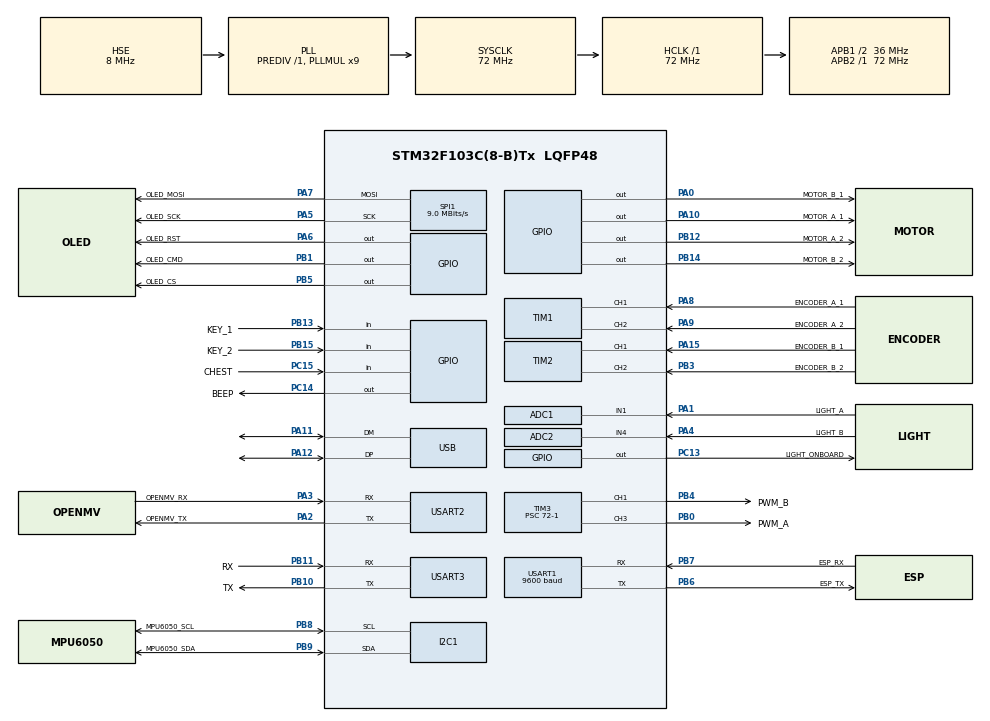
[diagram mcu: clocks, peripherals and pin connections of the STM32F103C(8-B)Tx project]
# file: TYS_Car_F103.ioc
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ADC1.Channel-4\#ChannelRegularConversion=ADC_CHANNEL_1
ADC1.NbrOfConversionFlag=1
ADC1.Rank-4\#ChannelRegularConversion=1
ADC1.SamplingTime-4\#ChannelRegularConversion=ADC_SAMPLETIME_1CYCLE_5
ADC1.master=1
ADC2.Channel-3\#ChannelRegularConversion=ADC_CHANNEL_4
ADC2.NbrOfConversionFlag=1
ADC2.Rank-3\#ChannelRegularConversion=1
ADC2.SamplingTime-3\#ChannelRegularConversion=ADC_SAMPLETIME_1CYCLE_5
FREERTOS.HEAP_NUMBER=4
FREERTOS.MEMORY_ALLOCATION=2
FREERTOS.Tasks01=defaultTask,0,128,StartDefaultTask,Default,NULL,Static,defaultTaskBuffer,defaultTaskControlBlock;Screen_Refreshe,0,128,Screen_Refresh,Default,NULL,Static,Screen_RefresheBuffer,Screen_RefresheControlBlock;ADC_Read,0,128,ADC_Get,Default,NULL,Static,ADC_ReadBuffer,ADC_ReadControlBlock;Speed_Control,2,128,Control_Speed,Default,NULL,Static,Speed_ControlBuffer,Speed_ControlControlBlock
FREERTOS.configTOTAL_HEAP_SIZE=3072
I2C1.I2C_Mode=I2C_Fast
Mcu.Family=STM32F1
Mcu.Name=STM32F103C(8-B)Tx
Mcu.Package=LQFP48
NVIC.PriorityGroup=NVIC_PRIORITYGROUP_4
NVIC.TIM4_IRQn=true\:15\:0\:false\:false\:true\:false\:false\:true
NVIC.TimeBase=TIM4_IRQn
NVIC.TimeBaseIP=TIM4
NVIC.USART1_IRQn=true\:5\:0\:true\:false\:true\:true\:true\:true
NVIC.USART2_IRQn=true\:5\:0\:true\:false\:true\:true\:true\:true
NVIC.USART3_IRQn=true\:5\:0\:true\:false\:true\:true\:true\:true
NVIC.USB_LP_CAN1_RX0_IRQn=true\:5\:0\:false\:false\:true\:true\:false\:true
PA0-WKUP.GPIO_Label=MOTOR_B_1
PA0-WKUP.Signal=GPIO_Output
PA1.GPIO_Label=LIGHT_A
PA1.Signal=ADCx_IN1
PA10.GPIO_Label=MOTOR_A_1
PA10.Signal=GPIO_Output
PA11.Mode=Device
PA11.Signal=USB_DM
PA12.Mode=Device
PA12.Signal=USB_DP
PA13.GPIO_Label=SWDIO
PA13.Mode=Serial_Wire
PA13.Signal=SYS_JTMS-SWDIO
PA14.GPIO_Label=SWCLK
PA14.Mode=Serial_Wire
PA14.Signal=SYS_JTCK-SWCLK
PA15.GPIO_Label=ENCODER_B_1
PA15.Signal=S_TIM2_CH1_ETR
PA2.GPIO_Label=OPENMV_TX
PA2.Mode=Asynchronous
PA2.Signal=USART2_TX
PA3.GPIO_Label=OPENMV_RX
PA3.Mode=Asynchronous
PA3.Signal=USART2_RX
PA4.GPIO_Label=LIGHT_B
PA4.Signal=ADCx_IN4
PA5.GPIO_Label=OLED_SCK
PA5.Mode=TX_Only_Simplex_Unidirect_Master
PA5.Signal=SPI1_SCK
PA6.GPIO_Label=OLED_RST
PA6.Signal=GPIO_Output
PA7.GPIO_Label=OLED_MOSI
PA7.Mode=TX_Only_Simplex_Unidirect_Master
PA7.Signal=SPI1_MOSI
PA8.GPIO_Label=ENCODER_A_1
PA8.Signal=S_TIM1_CH1
PA9.GPIO_Label=ENCODER_A_2
PA9.Signal=S_TIM1_CH2
PB0.GPIO_Label=PWM_A
PB0.Signal=S_TIM3_CH3
PB1.GPIO_Label=OLED_CMD
PB1.Signal=GPIO_Output
PB10.GPIO_Label=TX
PB10.Mode=Asynchronous
PB10.Signal=USART3_TX
PB11.GPIO_Label=RX
PB11.Mode=Asynchronous
PB11.Signal=USART3_RX
PB12.GPIO_Label=MOTOR_A_2
PB12.Signal=GPIO_Output
PB13.GPIO_Label=KEY_1
PB13.Signal=GPIO_Input
PB14.GPIO_Label=MOTOR_B_2
PB14.Signal=GPIO_Output
PB15.GPIO_Label=KEY_2
PB15.Signal=GPIO_Input
PB3.GPIO_Label=ENCODER_B_2
PB3.Signal=S_TIM2_CH2
PB4.GPIO_Label=PWM_B
PB4.Signal=S_TIM3_CH1
PB5.GPIO_Label=OLED_CS
PB5.Signal=GPIO_Output
PB6.GPIO_Label=ESP_TX
PB6.Mode=Asynchronous
PB6.Signal=USART1_TX
PB7.GPIO_Label=ESP_RX
PB7.Mode=Asynchronous
PB7.Signal=USART1_RX
PB8.GPIO_Label=MPU6050_SCL
PB8.Mode=I2C
PB8.Signal=I2C1_SCL
PB9.GPIO_Label=MPU6050_SDA
PB9.Mode=I2C
PB9.Signal=I2C1_SDA
PC13-TAMPER-RTC.GPIO_Label=LIGHT_ONBOARD
PC13-TAMPER-RTC.Signal=GPIO_Output
PC14-OSC32_IN.GPIO_Label=BEEP
PC14-OSC32_IN.PinState=GPIO_PIN_SET
PC14-OSC32_IN.Signal=GPIO_Output
PC15-OSC32_OUT.GPIO_Label=CHEST
PC15-OSC32_OUT.Signal=GPIO_Input
PD0-OSC_IN.GPIO_Label=RCC_IN
PD0-OSC_IN.Mode=HSE-External-Oscillator
PD0-OSC_IN.Signal=RCC_OSC_IN
PD1-OSC_OUT.GPIO_Label=RCC_OUT
PD1-OSC_OUT.Mode=HSE-External-Oscillator
PD1-OSC_OUT.Signal=RCC_OSC_OUT
ProjectManager.HeapSize=0x200
ProjectManager.StackSize=0x400
ProjectManager.TargetToolchain=SW4STM32
RCC.ADCPresc=RCC_ADCPCLK2_DIV6
RCC.AHBFreq_Value=72000000
RCC.APB1CLKDivider=RCC_HCLK_DIV2
RCC.APB1Freq_Value=36000000
RCC.APB1TimFreq_Value=72000000
RCC.APB2Freq_Value=72000000
RCC.APB2TimFreq_Value=72000000
RCC.HCLKFreq_Value=72000000
RCC.PLLMUL=RCC_PLL_MUL9
RCC.PLLSourceVirtual=RCC_PLLSOURCE_HSE
RCC.SYSCLKFreq_VALUE=72000000
RCC.SYSCLKSource=RCC_SYSCLKSOURCE_PLLCLK
RCC.USBFreq_Value=48000000
RCC.USBPrescaler=RCC_USBCLKSOURCE_PLL_DIV1_5
SH.ADCx_IN1.0=ADC1_IN1,IN1
SH.ADCx_IN4.0=ADC2_IN4,IN4
SH.S_TIM1_CH1.0=TIM1_CH1,Encoder_Interface
SH.S_TIM1_CH2.0=TIM1_CH2,Encoder_Interface
SH.S_TIM2_CH1_ETR.0=TIM2_CH1,Encoder_Interface
SH.S_TIM2_CH2.0=TIM2_CH2,Encoder_Interface
SH.S_TIM3_CH1.0=TIM3_CH1,PWM Generation1 CH1
SH.S_TIM3_CH3.0=TIM3_CH3,PWM Generation3 CH3
SPI1.BaudRatePrescaler=SPI_BAUDRATEPRESCALER_8
SPI1.CalculateBaudRate=9.0 MBits/s
SPI1.Direction=SPI_DIRECTION_2LINES
SPI1.Mode=SPI_MODE_MASTER
SPI1.VirtualType=VM_MASTER
TIM1.EncoderMode=TIM_ENCODERMODE_TI12
TIM1.IC1Filter=10
TIM1.IC2Filter=10
TIM2.EncoderMode=TIM_ENCODERMODE_TI12
TIM2.IC1Filter=10
TIM2.IC2Filter=10
TIM3.Channel-PWM\ Generation1\ CH1=TIM_CHANNEL_1
TIM3.Channel-PWM\ Generation3\ CH3=TIM_CHANNEL_3
TIM3.Period=1000-1
TIM3.Prescaler=72-1
USART1.BaudRate=9600
USART1.VirtualMode=VM_ASYNC
USART2.VirtualMode=VM_ASYNC
USART3.VirtualMode=VM_ASYNC
USB_DEVICE.APP_RX_DATA_SIZE=100
USB_DEVICE.APP_TX_DATA_SIZE=100
USB_DEVICE.CLASS_NAME_FS=CDC
USB_DEVICE.VirtualMode=Cdc
USB_DEVICE.VirtualModeFS=Cdc_FS
VP_FREERTOS_VS_CMSIS_V1.Mode=CMSIS_V1
VP_SYS_VS_tim4.Mode=TIM4
VP_TIM3_VS_ClockSourceINT.Mode=Internal
VP_USB_DEVICE_VS_USB_DEVICE_CDC_FS.Mode=CDC_FS
board=custom

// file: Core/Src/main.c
/* USER CODE BEGIN Header */
/**
  ******************************************************************************
  * @file           : main.c
  * @brief          : Main program body
  ******************************************************************************
  * @attention
  *
  * <h2><center>&copy; Copyright (c) 2021 STMicroelectronics.
  * All rights reserved.</center></h2>
  *
  * This software component is licensed by ST under Ultimate Liberty license
  * SLA0044, the "License"; You may not use this file except in compliance with
  * the License. You may obtain a copy of the License at:
  *                             www.st.com/SLA0044
  *
  ******************************************************************************
  */
/* USER CODE END Header */
#include "main.h"
#include "cmsis_os.h"
#include "adc.h"
#include "i2c.h"
#include "spi.h"
#include "tim.h"
#include "usart.h"
#include "usb_device.h"
#include "gpio.h"

/* USER CODE BEGIN Includes */
//#include "TYS_MPU6050.h"
//#include "stdio.h"
//#include "TYS_Retarget.h"
/* USER CODE END Includes */

void SystemClock_Config(void);
void MX_FREERTOS_Init(void);

int main(void)
{

  /* MCU Configuration--------------------------------------------------------*/

  /* Reset of all peripherals, Initializes the Flash interface and the Systick. */
  HAL_Init();

  /* Configure the system clock */
  SystemClock_Config();

  /* Initialize all configured peripherals */
  MX_GPIO_Init();
  MX_ADC1_Init();
  MX_I2C1_Init();
  MX_SPI1_Init();
  MX_TIM1_Init();
  MX_TIM2_Init();
  MX_TIM3_Init();
  MX_USART1_UART_Init();
  MX_ADC2_Init();
  MX_USART2_UART_Init();
  MX_USART3_UART_Init();
  /* USER CODE BEGIN 2 */
//    RetargetInit();

  /* USER CODE END 2 */

  /* Call init function for freertos objects (in freertos.c) */
  MX_FREERTOS_Init();
  /* Start scheduler */
  osKernelStart();

  /* We should never get here as control is now taken by the scheduler */
  /* Infinite loop */
    while (1) {

    }
}

void SystemClock_Config(void)
{
  RCC_OscInitTypeDef RCC_OscInitStruct = {0};
  RCC_ClkInitTypeDef RCC_ClkInitStruct = {0};
  RCC_PeriphCLKInitTypeDef PeriphClkInit = {0};

  /** Initializes the RCC Oscillators according to the specified parameters
  * in the RCC_OscInitTypeDef structure.
  */
  RCC_OscInitStruct.OscillatorType = RCC_OSCILLATORTYPE_HSE;
  RCC_OscInitStruct.HSEState = RCC_HSE_ON;
  RCC_OscInitStruct.HSEPredivValue = RCC_HSE_PREDIV_DIV1;
  RCC_OscInitStruct.HSIState = RCC_HSI_ON;
  RCC_OscInitStruct.PLL.PLLState = RCC_PLL_ON;
  RCC_OscInitStruct.PLL.PLLSource = RCC_PLLSOURCE_HSE;
  RCC_OscInitStruct.PLL.PLLMUL = RCC_PLL_MUL9;
  if (HAL_RCC_OscConfig(&RCC_OscInitStruct) != HAL_OK)
  {
    Error_Handler();
  }
  /** Initializes the CPU, AHB and APB buses clocks
  */
  RCC_ClkInitStruct.ClockType = RCC_CLOCKTYPE_HCLK|RCC_CLOCKTYPE_SYSCLK
                              |RCC_CLOCKTYPE_PCLK1|RCC_CLOCKTYPE_PCLK2;
  RCC_ClkInitStruct.SYSCLKSource = RCC_SYSCLKSOURCE_PLLCLK;
  RCC_ClkInitStruct.AHBCLKDivider = RCC_SYSCLK_DIV1;
  RCC_ClkInitStruct.APB1CLKDivider = RCC_HCLK_DIV2;
  RCC_ClkInitStruct.APB2CLKDivider = RCC_HCLK_DIV1;

  if (HAL_RCC_ClockConfig(&RCC_ClkInitStruct, FLASH_LATENCY_2) != HAL_OK)
  {
    Error_Handler();
  }
  PeriphClkInit.PeriphClockSelection = RCC_PERIPHCLK_ADC|RCC_PERIPHCLK_USB;
  PeriphClkInit.AdcClockSelection = RCC_ADCPCLK2_DIV6;
  PeriphClkInit.UsbClockSelection = RCC_USBCLKSOURCE_PLL_DIV1_5;
  if (HAL_RCCEx_PeriphCLKConfig(&PeriphClkInit) != HAL_OK)
  {
    Error_Handler();
  }
}

void HAL_TIM_PeriodElapsedCallback(TIM_HandleTypeDef *htim)
{
  if (htim->Instance == TIM4) {
    HAL_IncTick();
  }
}

void Error_Handler(void)
{
    __disable_irq();
    while (1) {
    }
}

/************************ (C) COPYRIGHT STMicroelectronics *****END OF FILE****/

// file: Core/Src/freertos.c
/* USER CODE BEGIN Header */
/**
  ******************************************************************************
  * File Name          : freertos.c
  * Description        : Code for freertos applications
  ******************************************************************************
  * @attention
  *
  * <h2><center>&copy; Copyright (c) 2021 STMicroelectronics.
  * All rights reserved.</center></h2>
  *
  * This software component is licensed by ST under Ultimate Liberty license
  * SLA0044, the "License"; You may not use this file except in compliance with
  * the License. You may obtain a copy of the License at:
  *                             www.st.com/SLA0044
  *
  ******************************************************************************
  */
/* USER CODE END Header */

#include "FreeRTOS.h"
#include "task.h"
#include "main.h"
#include "cmsis_os.h"

/* USER CODE BEGIN Includes */
#include "adc.h"
#include "i2c.h"
#include "spi.h"
#include "usart.h"
#include "tim.h"
#include "TYS_OLED.h"
#include "usbd_cdc_if.h"
#include "../MPU6050/TYS_MPU6050.h"
/* USER CODE END Includes */

/* USER CODE BEGIN Variables */
unsigned char UART1_Rx_Buf[8] = {0x00}; //USART1存储接收数据
unsigned char UART1_Rx_flg = 0;         //USART1接收完成标志
unsigned int  UART1_Rx_cnt = 0;         //USART1接受数据计数�?
unsigned char UART1_temp[1] = {0x00};   //USART1接收数据缓存

unsigned char UART2_Rx_Buf[8] = {0x00}; //USART2存储接收数据
unsigned char UART2_Rx_flg = 0;         //USART2接收完成标志
unsigned int  UART2_Rx_cnt = 0;         //USART2接受数据计数�?
unsigned char UART2_temp[1] = {0x00};   //USART2接收数据缓存

unsigned char UART3_Rx_Buf[8] = {0x00}; //USART3存储接收数据
unsigned char UART3_Rx_flg = 0;         //USART3接收完成标志
unsigned int  UART3_Rx_cnt = 0;         //USART3接受数据计数�?
unsigned char UART3_temp[1] = {0x00};   //USART3接收数据缓存

int32_t Light_A, Light_B;
int32_t Speed_A, Speed_B;
int32_t ERR_A_Last_0, ERR_B_Last_0;
int32_t ERR_A_Last_1, ERR_B_Last_1;
int32_t ERR_A_Last_2, ERR_B_Last_2;
int32_t Speed_Target_A, Speed_Target_B;
int32_t PWM_A, PWM_B;
int32_t PWM_A_Bias, PWM_B_Bias;
int32_t PID_P = 400, PID_I = 800, PID_D = 100;

int32_t Length_A, Length_B;
uint8_t FLAG_MOVE;

uint8_t Key_1, Key_2;

uint8_t OpenMV_Num, OpenMV_Dir;

float X, Y, Z;

//uint8_t UART1_Rx_Buf[8]; //USART1存储接收数据
//uint8_t UART2_Rx_Buf[8] = "XXXXXXXX"; //USART2存储接收数据
//uint8_t UART3_Rx_Buf[8]; //USART3存储接收数据

enum DIRECTION {
    DIR_STOP = 0,
    DIR_FORWARD = 1,
    DIR_BACKWARD = 2,
    DIR_LEFT = 3,
    DIR_RIGHT = 4
};
enum DIRECTION Direction = DIR_STOP;
/* USER CODE END Variables */
osThreadId defaultTaskHandle;
uint32_t defaultTaskBuffer[ 128 ];
osStaticThreadDef_t defaultTaskControlBlock;
osThreadId Screen_RefresheHandle;
uint32_t Screen_RefresheBuffer[ 128 ];
osStaticThreadDef_t Screen_RefresheControlBlock;
osThreadId ADC_ReadHandle;
uint32_t ADC_ReadBuffer[ 128 ];
osStaticThreadDef_t ADC_ReadControlBlock;
osThreadId Speed_ControlHandle;
uint32_t Speed_ControlBuffer[ 128 ];
osStaticThreadDef_t Speed_ControlControlBlock;

/* USER CODE BEGIN FunctionPrototypes */
void CAR_RUN(int32_t Length_R, int32_t Length_L, int32_t Target_R, int32_t Target_L, enum DIRECTION Dir) {
    Length_A = Length_R;
    Length_B = Length_L;
    Speed_Target_A = Target_R;
    Speed_Target_B = Target_L;
    Direction = Dir;
    HAL_GPIO_WritePin(LIGHT_ONBOARD_GPIO_Port, LIGHT_ONBOARD_Pin, GPIO_PIN_RESET);
    FLAG_MOVE = 1;
}
void HAL_UART_RxCpltCallback(UART_HandleTypeDef *huart)
{
    if(huart->Instance==USART1)
    {
        UART1_Rx_Buf[UART1_Rx_cnt] = UART1_temp[0];
        CDC_Transmit_FS(UART1_temp, 1);
        UART1_Rx_cnt++;
        if(0x7f == UART1_temp[0])
        {
            UART1_Rx_flg = 1;
        }
        HAL_UART_Receive_IT(&huart1,(uint8_t *)UART1_temp,1);
    }
    if(huart->Instance==USART2)
    {
        UART2_Rx_Buf[UART2_Rx_cnt] = UART2_temp[0];
        CDC_Transmit_FS(UART2_temp, 1);
        UART2_Rx_cnt++;
        if(0x7f == UART2_temp[0])
        {
            UART2_Rx_flg = 1;
        }
        HAL_UART_Receive_IT(&huart2,(uint8_t *)UART2_temp,1);
    }
    if(huart->Instance==USART3)
    {
        UART3_Rx_Buf[UART3_Rx_cnt] = UART3_temp[0];
        CDC_Transmit_FS(UART3_temp, 1);
        UART3_Rx_cnt++;
        if(0x7f == UART3_temp[0])
        {
            UART3_Rx_flg = 1;
        }
        HAL_UART_Receive_IT(&huart3,(uint8_t *)UART3_temp,1);
    }
}
/* USER CODE END FunctionPrototypes */

void StartDefaultTask(void const * argument);
void Screen_Refresh(void const * argument);
void ADC_Get(void const * argument);
void Control_Speed(void const * argument);

extern void MX_USB_DEVICE_Init(void);
void MX_FREERTOS_Init(void); /* (MISRA C 2004 rule 8.1) */

/* GetIdleTaskMemory prototype (linked to static allocation support) */
void vApplicationGetIdleTaskMemory( StaticTask_t **ppxIdleTaskTCBBuffer, StackType_t **ppxIdleTaskStackBuffer, uint32_t *pulIdleTaskStackSize );

/* USER CODE BEGIN GET_IDLE_TASK_MEMORY */
static StaticTask_t xIdleTaskTCBBuffer;
static StackType_t xIdleStack[configMINIMAL_STACK_SIZE];

void vApplicationGetIdleTaskMemory( StaticTask_t **ppxIdleTaskTCBBuffer, StackType_t **ppxIdleTaskStackBuffer, uint32_t *pulIdleTaskStackSize )
{
  *ppxIdleTaskTCBBuffer = &xIdleTaskTCBBuffer;
  *ppxIdleTaskStackBuffer = &xIdleStack[0];
  *pulIdleTaskStackSize = configMINIMAL_STACK_SIZE;
  /* place for user code */
}
/* USER CODE END GET_IDLE_TASK_MEMORY */

void MX_FREERTOS_Init(void) {

  /* Create the thread(s) */
  /* definition and creation of defaultTask */
  osThreadStaticDef(defaultTask, StartDefaultTask, osPriorityNormal, 0, 128, defaultTaskBuffer, &defaultTaskControlBlock);
  defaultTaskHandle = osThreadCreate(osThread(defaultTask), NULL);

  /* definition and creation of Screen_Refreshe */
  osThreadStaticDef(Screen_Refreshe, Screen_Refresh, osPriorityNormal, 0, 128, Screen_RefresheBuffer, &Screen_RefresheControlBlock);
  Screen_RefresheHandle = osThreadCreate(osThread(Screen_Refreshe), NULL);

  /* definition and creation of ADC_Read */
  osThreadStaticDef(ADC_Read, ADC_Get, osPriorityNormal, 0, 128, ADC_ReadBuffer, &ADC_ReadControlBlock);
  ADC_ReadHandle = osThreadCreate(osThread(ADC_Read), NULL);

  /* definition and creation of Speed_Control */
  osThreadStaticDef(Speed_Control, Control_Speed, osPriorityHigh, 0, 128, Speed_ControlBuffer, &Speed_ControlControlBlock);
  Speed_ControlHandle = osThreadCreate(osThread(Speed_Control), NULL);

}

void StartDefaultTask(void const * argument)
{
  /* init code for USB_DEVICE */
  MX_USB_DEVICE_Init();
  /* USER CODE BEGIN StartDefaultTask */
    HAL_UART_Receive_IT(&huart1,(uint8_t *)UART1_temp,1);
    HAL_UART_Receive_IT(&huart2,(uint8_t *)UART2_temp,1);
    HAL_UART_Receive_IT(&huart3,(uint8_t *)UART3_temp,1);
//    osDelay(1000);
//    CAR_RUN(7500, 7500, 50, 50, DIR_FORWARD);
//    while (FLAG_MOVE);
//    osDelay(500);
//    CAR_RUN(7500, 7500, 50, 50, DIR_BACKWARD);
//    while (FLAG_MOVE);
//    osDelay(500);
//    CAR_RUN(7500, 7500, 50, 50, DIR_RIGHT);
//    while (FLAG_MOVE);
//    osDelay(500);
//    CAR_RUN(7500, 7500, 50, 50, DIR_LEFT);
//    while (FLAG_MOVE);
//    CAR_RUN(2000, 2000, 50, 50, DIR_FORWARD);
  /* Infinite loop */
    for (;;) {
        osDelay(100);
    }
  /* USER CODE END StartDefaultTask */
}

void Screen_Refresh(void const * argument)
{
  /* USER CODE BEGIN Screen_Refresh */
    OLED_Init();
    OLED_Clear();
    OLED_Display_On();
  /* Infinite loop */
    for (;;) {
        if (Key_1 == 1) {
            if (Key_2 == 1) {
                OLED_ShowString(0, 0, "     LIGHT     ");
                OLED_ShowString(0, 2, "LightA: ");
                OLED_ShowString(0, 4, "LightB: ");
                OLED_ShowString(0, 6, "               ");
                OLED_ShowNum(65, 2, Light_A, 4, 16);
                OLED_ShowNum(65, 4, Light_B, 4, 16);
            }
            if (Key_2 == 0) {
                OLED_ShowString(0, 0, "     SPEED     ");
                OLED_ShowString(0, 2, "SpeedA: ");
                OLED_ShowString(0, 4, "SpeedB: ");
                OLED_ShowString(0, 6, "               ");
                OLED_ShowNum(65, 2, Speed_A, 4, 16);
                OLED_ShowNum(65, 4, Speed_B, 4, 16);
            }
        }
        if (Key_1 == 0) {
            if (Key_2 == 1) {
                OLED_ShowString(0, 0, "    OPEN_MV    ");
                OLED_ShowString(0, 2, "NUMBER: ");
                OLED_ShowString(0, 4, "DIRECT: ");
                OLED_ShowString(0, 6, "               ");
                OLED_ShowNum(65, 2, OpenMV_Num, 4, 16);
                OLED_ShowNum(65, 4, OpenMV_Dir, 4, 16);
            }
            if (Key_2 == 0) {
                OLED_ShowString(0, 0, "    MPU6050    ");
                if (X >= 0) OLED_ShowString(0, 2, "ANG_X : ");
                else OLED_ShowString(0, 2, "ANG_X :-");
                if (Y >= 0) OLED_ShowString(0, 4, "ANG_Y : ");
                else OLED_ShowString(0, 4, "ANG_Y :-");
                if (Z >= 0) OLED_ShowString(0, 6, "ANG_Z : ");
                else OLED_ShowString(0, 6, "ANG_Z :");
                OLED_ShowNum(65, 2, abs(X*10), 4, 16);
                OLED_ShowNum(65, 4, abs(Y*10) * 10, 4, 16);
                OLED_ShowNum(65, 6, abs(Z*10), 4, 16);
            }
        }
        osDelay(40);
    }
  /* USER CODE END Screen_Refresh */
}

void ADC_Get(void const * argument)
{
  /* USER CODE BEGIN ADC_Get */
    uint8_t USB_Send[] = "SpeedA=   ,SpeedB=   \n";
    uint8_t NUM_Table[] = "0123456789";
    uint8_t UART1_Send[8] = {0x00, 0x00, 0x00, 0x00, 0x00, 0x00, 0x00, 0x00};
    //MPU_6050_Init();
    //while (mpu_dmp_init());
  /* Infinite loop */
    for (;;) {

        if(UART1_Rx_flg)
        {
            switch (UART1_Rx_Buf[0]) {
                case 0:
                    Direction = DIR_STOP;
                    Speed_Target_A = UART1_Rx_Buf[1] * 128 + UART1_Rx_Buf[2];
                    Speed_Target_B = UART1_Rx_Buf[3] * 128 + UART1_Rx_Buf[4];
                    break;
                case 1:
                    Direction = DIR_FORWARD;
                    Speed_Target_A = UART1_Rx_Buf[1] * 128 + UART1_Rx_Buf[2];
                    Speed_Target_B = UART1_Rx_Buf[3] * 128 + UART1_Rx_Buf[4];
                    break;
                case 2:
                    Direction = DIR_LEFT;
                    Speed_Target_A = UART1_Rx_Buf[1] * 128 + UART1_Rx_Buf[2];
                    Speed_Target_B = UART1_Rx_Buf[3] * 128 + UART1_Rx_Buf[4];
                    break;
                case 3:
                    Direction = DIR_RIGHT;
                    Speed_Target_A = UART1_Rx_Buf[1] * 128 + UART1_Rx_Buf[2];
                    Speed_Target_B = UART1_Rx_Buf[3] * 128 + UART1_Rx_Buf[4];
                    break;
                case 4:
                    Direction = DIR_BACKWARD;
                    Speed_Target_A = UART1_Rx_Buf[1] * 128 + UART1_Rx_Buf[2];
                    Speed_Target_B = UART1_Rx_Buf[3] * 128 + UART1_Rx_Buf[4];
                    break;
                case 5:
                    PID_P = UART1_Rx_Buf[1] * 128 + UART1_Rx_Buf[2];
                    PID_I = UART1_Rx_Buf[3] * 128 + UART1_Rx_Buf[4];
                    PID_D = UART1_Rx_Buf[5] * 128 + UART1_Rx_Buf[6];
                default:
                    Direction = DIR_STOP;

            }
            for(int i = 0;i<UART1_Rx_cnt;i++) {
                UART1_Rx_Buf[i] = 0;
            }
            UART1_Rx_cnt = 0;
            UART1_Rx_flg = 0;
        }

        if(UART2_Rx_flg)
        {
            OpenMV_Num = UART2_Rx_Buf[0];
            OpenMV_Dir = UART2_Rx_Buf[1];
            for(int i = 0;i<UART2_Rx_cnt;i++) {
                UART2_Rx_Buf[i] = 0;
            }
            UART2_Rx_cnt = 0;
            UART2_Rx_flg = 0;
        }

        if(UART3_Rx_flg)
        {
            for(int i = 0;i<UART3_Rx_cnt;i++) {
                UART3_Rx_Buf[i] = 0;
            }
            UART3_Rx_cnt = 0;
            UART3_Rx_flg = 0;
        }

        mpu_dmp_get_data(&X, &Y, &Z);

        HAL_ADC_Start(&hadc1);
        HAL_ADC_Start(&hadc2);
        Light_A = HAL_ADC_GetValue(&hadc1);
        Light_B = HAL_ADC_GetValue(&hadc2);

        Key_1 = HAL_GPIO_ReadPin(KEY_1_GPIO_Port, KEY_1_Pin);
        Key_2 = HAL_GPIO_ReadPin(KEY_2_GPIO_Port, KEY_2_Pin);

        USB_Send[7] = NUM_Table[Speed_A/100];
        USB_Send[8] = NUM_Table[(Speed_A/10)%10];
        USB_Send[9] = NUM_Table[Speed_A%10];

        USB_Send[18] = NUM_Table[Speed_B/100];
        USB_Send[19] = NUM_Table[(Speed_B/10)%10];
        USB_Send[20] = NUM_Table[Speed_B%10];

        //CDC_Transmit_FS(USB_Send, sizeof USB_Send-1);
        UART1_Send[1] = Speed_A / 128;
        UART1_Send[2] = Speed_A % 128;
        UART1_Send[3] = Speed_B / 128;
        UART1_Send[4] = Speed_B % 128;
        HAL_UART_Transmit_IT(&huart1,UART1_Send,8);
        osDelay(20);
    }
  /* USER CODE END ADC_Get */
}

void Control_Speed(void const * argument)
{
  /* USER CODE BEGIN Control_Speed */
    HAL_TIM_Encoder_Start(&htim1, TIM_CHANNEL_3);
    HAL_TIM_Encoder_Start(&htim1, TIM_CHANNEL_4);
    HAL_TIM_Encoder_Start(&htim2, TIM_CHANNEL_3);
    HAL_TIM_Encoder_Start(&htim2, TIM_CHANNEL_4);

    HAL_TIM_PWM_Start(&htim3, TIM_CHANNEL_1);
    HAL_TIM_PWM_Start(&htim3, TIM_CHANNEL_3);

    int32_t temp = 0;
  /* Infinite loop */
    for (;;) {

        if (Length_A < 0) {
            Speed_Target_A = 0;
            if(Length_B < 0){
                Length_A = 0;
                Length_B = 0;
                Speed_Target_B = 0;
                FLAG_MOVE = 0;
                HAL_GPIO_WritePin(LIGHT_ONBOARD_GPIO_Port, LIGHT_ONBOARD_Pin, GPIO_PIN_SET);
                Direction = DIR_STOP;
            }
        }

        switch (Direction) {
            case DIR_STOP:
                PWM_A = 0;
                PWM_B = 0;
                Speed_Target_A = 0;
                Speed_Target_B = 0;
                HAL_GPIO_WritePin(MOTOR_A_1_GPIO_Port, MOTOR_A_1_Pin, GPIO_PIN_SET);
                HAL_GPIO_WritePin(MOTOR_A_2_GPIO_Port, MOTOR_A_2_Pin, GPIO_PIN_SET);

                HAL_GPIO_WritePin(MOTOR_B_1_GPIO_Port, MOTOR_B_1_Pin, GPIO_PIN_SET);
                HAL_GPIO_WritePin(MOTOR_B_2_GPIO_Port, MOTOR_B_2_Pin, GPIO_PIN_SET);
                break;
            case DIR_FORWARD:
                HAL_GPIO_WritePin(MOTOR_A_1_GPIO_Port, MOTOR_A_1_Pin, GPIO_PIN_SET);
                HAL_GPIO_WritePin(MOTOR_A_2_GPIO_Port, MOTOR_A_2_Pin, GPIO_PIN_RESET);

                HAL_GPIO_WritePin(MOTOR_B_1_GPIO_Port, MOTOR_B_1_Pin, GPIO_PIN_RESET);
                HAL_GPIO_WritePin(MOTOR_B_2_GPIO_Port, MOTOR_B_2_Pin, GPIO_PIN_SET);
                break;
            case DIR_BACKWARD:
                HAL_GPIO_WritePin(MOTOR_A_1_GPIO_Port, MOTOR_A_1_Pin, GPIO_PIN_RESET);
                HAL_GPIO_WritePin(MOTOR_A_2_GPIO_Port, MOTOR_A_2_Pin, GPIO_PIN_SET);

                HAL_GPIO_WritePin(MOTOR_B_1_GPIO_Port, MOTOR_B_1_Pin, GPIO_PIN_SET);
                HAL_GPIO_WritePin(MOTOR_B_2_GPIO_Port, MOTOR_B_2_Pin, GPIO_PIN_RESET);
                break;
            case DIR_LEFT:
                HAL_GPIO_WritePin(MOTOR_A_1_GPIO_Port, MOTOR_A_1_Pin, GPIO_PIN_RESET);
                HAL_GPIO_WritePin(MOTOR_A_2_GPIO_Port, MOTOR_A_2_Pin, GPIO_PIN_SET);

                HAL_GPIO_WritePin(MOTOR_B_1_GPIO_Port, MOTOR_B_1_Pin, GPIO_PIN_RESET);
                HAL_GPIO_WritePin(MOTOR_B_2_GPIO_Port, MOTOR_B_2_Pin, GPIO_PIN_SET);
                break;
            case DIR_RIGHT:
                HAL_GPIO_WritePin(MOTOR_A_1_GPIO_Port, MOTOR_A_1_Pin, GPIO_PIN_SET);
                HAL_GPIO_WritePin(MOTOR_A_2_GPIO_Port, MOTOR_A_2_Pin, GPIO_PIN_RESET);

                HAL_GPIO_WritePin(MOTOR_B_1_GPIO_Port, MOTOR_B_1_Pin, GPIO_PIN_SET);
                HAL_GPIO_WritePin(MOTOR_B_2_GPIO_Port, MOTOR_B_2_Pin, GPIO_PIN_RESET);
                break;
            default:
                HAL_GPIO_WritePin(MOTOR_A_1_GPIO_Port, MOTOR_A_1_Pin, GPIO_PIN_SET);
                HAL_GPIO_WritePin(MOTOR_A_2_GPIO_Port, MOTOR_A_2_Pin, GPIO_PIN_SET);

                HAL_GPIO_WritePin(MOTOR_B_1_GPIO_Port, MOTOR_B_1_Pin, GPIO_PIN_SET);
                HAL_GPIO_WritePin(MOTOR_B_2_GPIO_Port, MOTOR_B_2_Pin, GPIO_PIN_SET);
                break;
        }

        temp = __HAL_TIM_GET_COUNTER(&htim1);
        if (temp < 10000) Speed_A = temp;
        else Speed_A = 65535 - temp;
        temp = __HAL_TIM_GET_COUNTER(&htim2);
        if (temp < 10000) Speed_B = temp;
        else Speed_B = 65535 - temp;

        ERR_A_Last_2 = ERR_A_Last_1;
        ERR_A_Last_1 = ERR_A_Last_0;
        ERR_A_Last_0 = Speed_Target_A - Speed_A;

        ERR_B_Last_2 = ERR_B_Last_1;
        ERR_B_Last_1 = ERR_B_Last_0;
        ERR_B_Last_0 = Speed_Target_B - Speed_B;

        PWM_A += 0.001 * (PID_P * (ERR_A_Last_0 - ERR_A_Last_1) + PID_I * ERR_A_Last_0 + PID_D * (ERR_A_Last_0 - 2 * ERR_A_Last_1 + ERR_A_Last_2));
        PWM_B += 0.001 * (PID_P * (ERR_B_Last_0 - ERR_B_Last_1) + PID_I * ERR_B_Last_0 + PID_D * (ERR_B_Last_0 - 2 * ERR_B_Last_1 + ERR_B_Last_2));

        if(FLAG_MOVE) Length_A -= Speed_A;
        if(FLAG_MOVE) Length_B -= Speed_B;
        PWM_A_Bias = 0;
        PWM_B_Bias = 0;
                __HAL_TIM_SetCompare(&htim3, TIM_CHANNEL_3, PWM_A + PWM_A_Bias);
                __HAL_TIM_SetCompare(&htim3, TIM_CHANNEL_1, PWM_B + PWM_B_Bias);

        __HAL_TIM_SET_COUNTER(&htim1, 0);
        __HAL_TIM_SET_COUNTER(&htim2, 0);
        osDelay(50);
    }
  /* USER CODE END Control_Speed */
}

/************************ (C) COPYRIGHT STMicroelectronics *****END OF FILE****/
